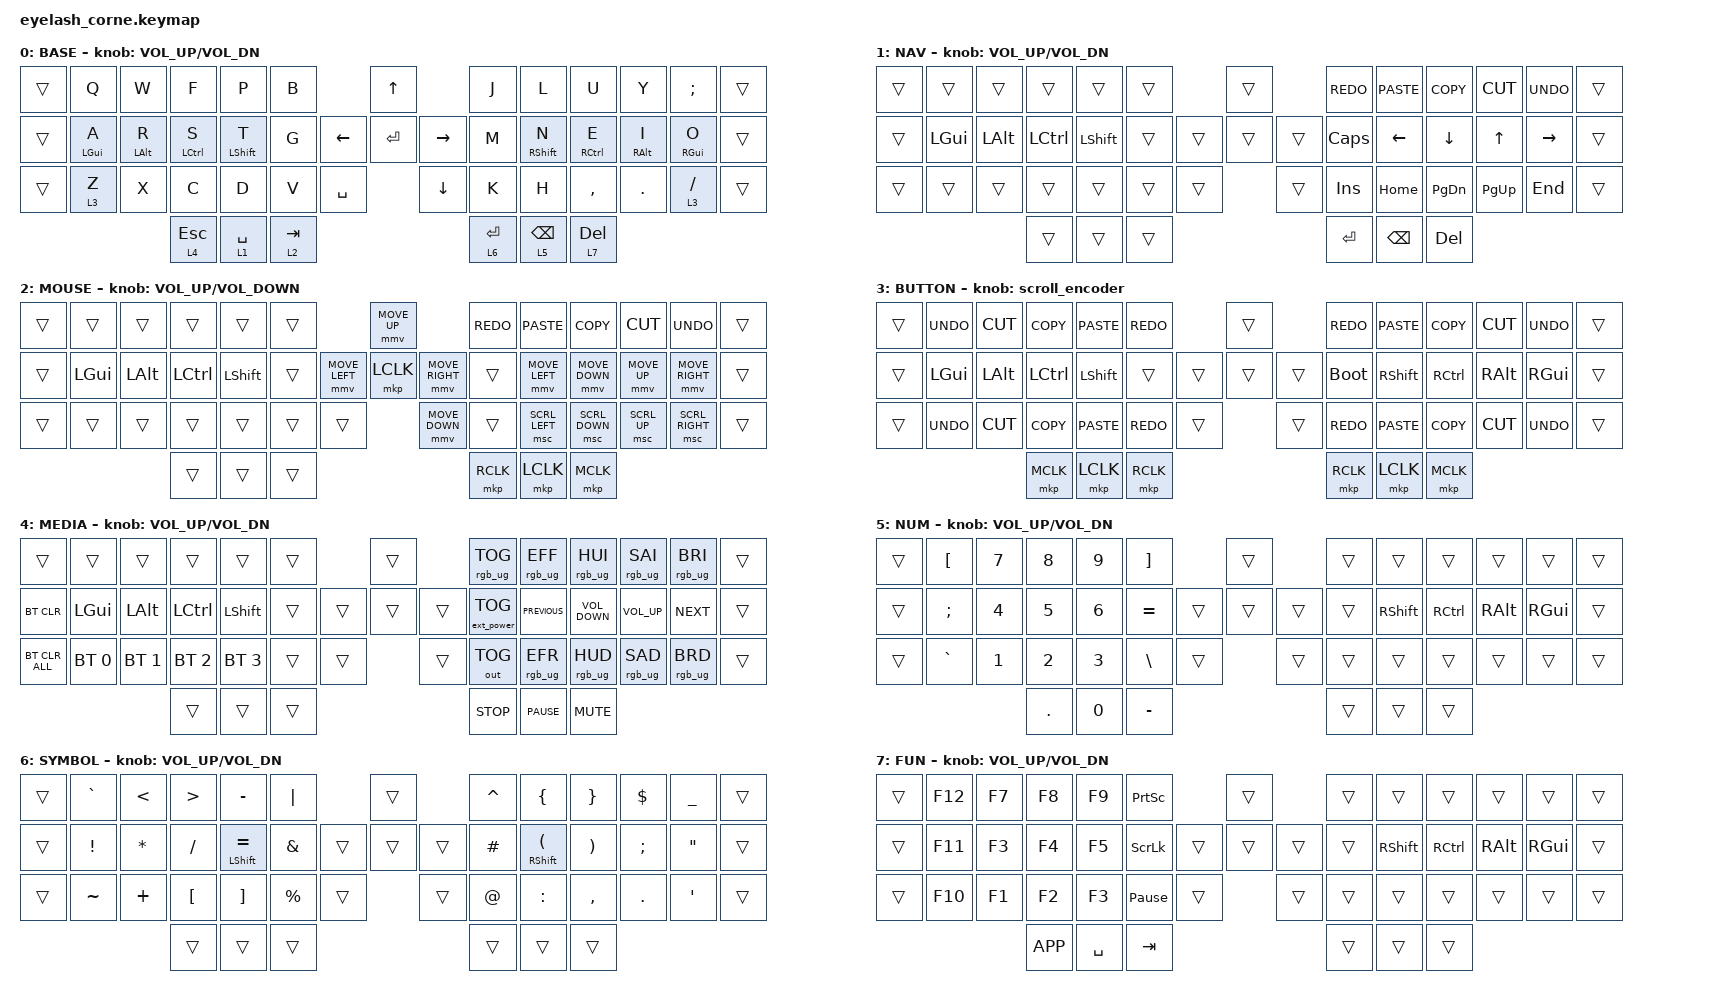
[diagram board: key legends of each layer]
#define ZMK_POINTING_DEFAULT_MOVE_VAL 1200  // 600
#define ZMK_POINTING_DEFAULT_SCRL_VAL 25   // 10

#include <input/processors.dtsi>
#include <zephyr/dt-bindings/input/input-event-codes.h>
#include <behaviors.dtsi>
#include <dt-bindings/zmk/bt.h>
#include <dt-bindings/zmk/ext_power.h>
#include <dt-bindings/zmk/keys.h>
#include <dt-bindings/zmk/outputs.h>
#include <dt-bindings/zmk/pointing.h>
#include <dt-bindings/zmk/rgb.h>

&mmv_input_listener { input-processors = <&zip_xy_scaler 2 1>; };

&msc_input_listener { input-processors = <&zip_scroll_scaler 2 1>; };

&msc {
    acceleration-exponent = <1>;      // 0
    time-to-max-speed-ms = <100>;       // 300
    delay-ms = <0>;                   // 0
};

&mmv {
    time-to-max-speed-ms = <500>;
    acceleration-exponent = <1>;
    trigger-period-ms = <16>;
};

&soft_off { hold-time-ms = <2000>; };

/ {
    behaviors {
        td0: td0 {
            compatible = "zmk,behavior-tap-dance";
            display-name = "Shift/Caps Lock Tap Dance";
            #binding-cells = <0>;
            bindings = <&kp LEFT_SHIFT>, <&kp CAPS>;
        };
    };

    rgb_encoder: rgb_encoder {
        compatible = "zmk,behavior-sensor-rotate";
        #sensor-binding-cells = <0>;
        bindings = <&rgb_ug RGB_BRI>, <&rgb_ug RGB_BRD>;
    };

    scroll_encoder: scroll_encoder {
        compatible = "zmk,behavior-sensor-rotate";
        #sensor-binding-cells = <0>;
        bindings = <&msc SCRL_DOWN>, <&msc SCRL_UP>;

        tap-ms = <100>;
    };

    combos { compatible = "zmk,combos"; };

    macros {
        double_colon: double_colon {
            compatible = "zmk,behavior-macro";
            #binding-cells = <0>;
            bindings = <&kp COLON &kp COLON>;
            label = "DOUBLE_COLON";
        };
    };

    keymap {
        compatible = "zmk,keymap";

        base_layer {
            display-name = "BASE";
            bindings = <
&trans  &kp Q       &kp W       &kp F        &kp P             &kp B                             &kp UP                &kp J        &kp L              &kp U        &kp Y       &kp SEMICOLON  &trans
&trans  &mt LGUI A  &mt LALT R  &mt LCTRL S  &mt LEFT_SHIFT T  &kp G                   &kp LEFT  &kp ENTER  &kp RIGHT  &kp M        &mt RIGHT_SHIFT N  &mt RCTRL E  &mt RALT I  &mt RGUI O     &trans
&trans  &lt 3 Z     &kp X       &kp C        &kp D             &kp V      &kp SPACE              &kp DOWN              &kp K        &kp H              &kp COMMA    &kp DOT     &lt 3 FSLH     &trans
                                &lt 4 ESC    &lt 1 SPACE       &lt 2 TAB                                               &lt 6 ENTER  &lt 5 BACKSPACE    &lt 7 DEL
            >;

            sensor-bindings = <&inc_dec_kp C_VOLUME_UP C_VOL_DN>;
        };

        nav_layer {
            display-name = "NAV";
            bindings = <
&trans  &trans    &trans    &trans     &trans     &trans                    &trans          &kp K_REDO  &kp K_PASTE  &kp K_COPY  &kp K_CUT  &kp K_UNDO  &trans
&trans  &kp LGUI  &kp LALT  &kp LCTRL  &kp LSHFT  &trans            &trans  &trans  &trans  &kp CAPS    &kp LEFT     &kp DOWN    &kp UP     &kp RIGHT   &trans
&trans  &trans    &trans    &trans     &trans     &trans  &trans            &trans          &kp INSERT  &kp HOME     &kp PG_DN   &kp PG_UP  &kp END     &trans
                            &trans     &trans     &trans                                    &kp RET     &kp BSPC     &kp DEL
            >;

            sensor-bindings = <&inc_dec_kp C_VOLUME_UP C_VOL_DN>;
        };

        mouse_layer {
            display-name = "MOUSE";
            bindings = <
&trans  &trans    &trans    &trans     &trans     &trans                            &mmv MOVE_UP                     &kp K_REDO  &kp K_PASTE     &kp K_COPY      &kp K_CUT     &kp K_UNDO       &trans
&trans  &kp LGUI  &kp LALT  &kp LCTRL  &kp LSHFT  &trans            &mmv MOVE_LEFT  &mkp LCLK       &mmv MOVE_RIGHT  &trans      &mmv MOVE_LEFT  &mmv MOVE_DOWN  &mmv MOVE_UP  &mmv MOVE_RIGHT  &trans
&trans  &trans    &trans    &trans     &trans     &trans  &trans                    &mmv MOVE_DOWN                   &trans      &msc SCRL_LEFT  &msc SCRL_DOWN  &msc SCRL_UP  &msc SCRL_RIGHT  &trans
                            &trans     &trans     &trans                                                             &mkp RCLK   &mkp LCLK       &mkp MCLK
            >;

            sensor-bindings = <&inc_dec_kp C_VOLUME_UP C_VOLUME_DOWN>;
        };

        button_layer {
            display-name = "BUTTON";
            bindings = <
&trans  &kp K_UNDO  &kp K_CUT  &kp K_COPY  &kp K_PASTE  &kp K_REDO                    &trans          &kp K_REDO   &kp K_PASTE  &kp K_COPY  &kp K_CUT  &kp K_UNDO  &trans
&trans  &kp LGUI    &kp LALT   &kp LCTRL   &kp LSHFT    &trans                &trans  &trans  &trans  &bootloader  &kp RSHFT    &kp RCTRL   &kp RALT   &kp RGUI    &trans
&trans  &kp K_UNDO  &kp K_CUT  &kp K_COPY  &kp K_PASTE  &kp K_REDO  &trans            &trans          &kp K_REDO   &kp K_PASTE  &kp K_COPY  &kp K_CUT  &kp K_UNDO  &trans
                               &mkp MCLK   &mkp LCLK    &mkp RCLK                                     &mkp RCLK    &mkp LCLK    &mkp MCLK
            >;

            sensor-bindings = <&scroll_encoder>;
        };

        media_layer {
            display-name = "MEDIA";
            bindings = <
&trans          &trans        &trans        &trans        &trans        &trans                    &trans          &rgb_ug RGB_TOG    &rgb_ug RGB_EFF  &rgb_ug RGB_HUI    &rgb_ug RGB_SAI  &rgb_ug RGB_BRI  &trans
&bt BT_CLR      &kp LGUI      &kp LALT      &kp LCTRL     &kp LSHFT     &trans            &trans  &trans  &trans  &ext_power EP_TOG  &kp C_PREVIOUS   &kp C_VOLUME_DOWN  &kp C_VOLUME_UP  &kp C_NEXT       &trans
&bt BT_CLR_ALL  &bt BT_SEL 0  &bt BT_SEL 1  &bt BT_SEL 2  &bt BT_SEL 3  &trans  &trans            &trans          &out OUT_TOG       &rgb_ug RGB_EFR  &rgb_ug RGB_HUD    &rgb_ug RGB_SAD  &rgb_ug RGB_BRD  &trans
                                            &trans        &trans        &trans                                    &kp C_STOP         &kp C_PAUSE      &kp C_MUTE
            >;

            sensor-bindings = <&inc_dec_kp C_VOLUME_UP C_VOL_DN>;
        };

        num_layer {
            display-name = "NUM";
            bindings = <
&trans  &kp LBKT   &kp N7  &kp N8   &kp N9  &kp RBKT                     &trans          &trans  &trans     &trans     &trans    &trans    &trans
&trans  &kp SEMI   &kp N4  &kp N5   &kp N6  &kp EQUAL            &trans  &trans  &trans  &trans  &kp RSHFT  &kp RCTRL  &kp RALT  &kp RGUI  &trans
&trans  &kp GRAVE  &kp N1  &kp N2   &kp N3  &kp BSLH   &trans            &trans          &trans  &trans     &trans     &trans    &trans    &trans
                           &kp DOT  &kp N0  &kp MINUS                                    &trans  &trans     &trans
            >;

            sensor-bindings = <&inc_dec_kp C_VOLUME_UP C_VOL_DN>;
        };

        symbol_layer {
            display-name = "SYMBOL";
            bindings = <
&trans  &kp GRAVE  &kp LESS_THAN  &kp GREATER_THAN  &kp MINUS          &kp PIPE                         &trans          &kp CARET    &kp LEFT_BRACE              &kp RIGHT_BRACE        &kp DOLLAR     &kp UNDERSCORE     &trans
&trans  &kp EXCL   &kp ASTERISK   &kp SLASH         &mt LSHIFT EQUAL   &kp AMPERSAND            &trans  &trans  &trans  &kp HASH     &mt RSHFT LEFT_PARENTHESIS  &kp RIGHT_PARENTHESIS  &kp SEMICOLON  &kp DOUBLE_QUOTES  &trans
&trans  &kp TILDE  &kp PLUS       &kp LEFT_BRACKET  &kp RIGHT_BRACKET  &kp PERCENT    &trans            &trans          &kp AT_SIGN  &kp COLON                   &kp COMMA              &kp PERIOD     &kp APOSTROPHE     &trans
                                  &trans            &trans             &trans                                           &trans       &trans                      &trans
            >;

            sensor-bindings = <&inc_dec_kp C_VOLUME_UP C_VOL_DN>;
        };

        fun_layer {
            display-name = "FUN";
            bindings = <
&trans  &kp F12  &kp F7  &kp F8     &kp F9     &kp PRINTSCREEN                    &trans          &trans  &trans     &trans     &trans    &trans    &trans
&trans  &kp F11  &kp F3  &kp F4     &kp F5     &kp SCROLLLOCK             &trans  &trans  &trans  &trans  &kp RSHFT  &kp RCTRL  &kp RALT  &kp RGUI  &trans
&trans  &kp F10  &kp F1  &kp F2     &kp F3     &kp PAUSE_BREAK  &trans            &trans          &trans  &trans     &trans     &trans    &trans    &trans
                         &kp K_APP  &kp SPACE  &kp TAB                                            &trans  &trans     &trans
            >;

            sensor-bindings = <&inc_dec_kp C_VOLUME_UP C_VOL_DN>;
        };
    };
};
